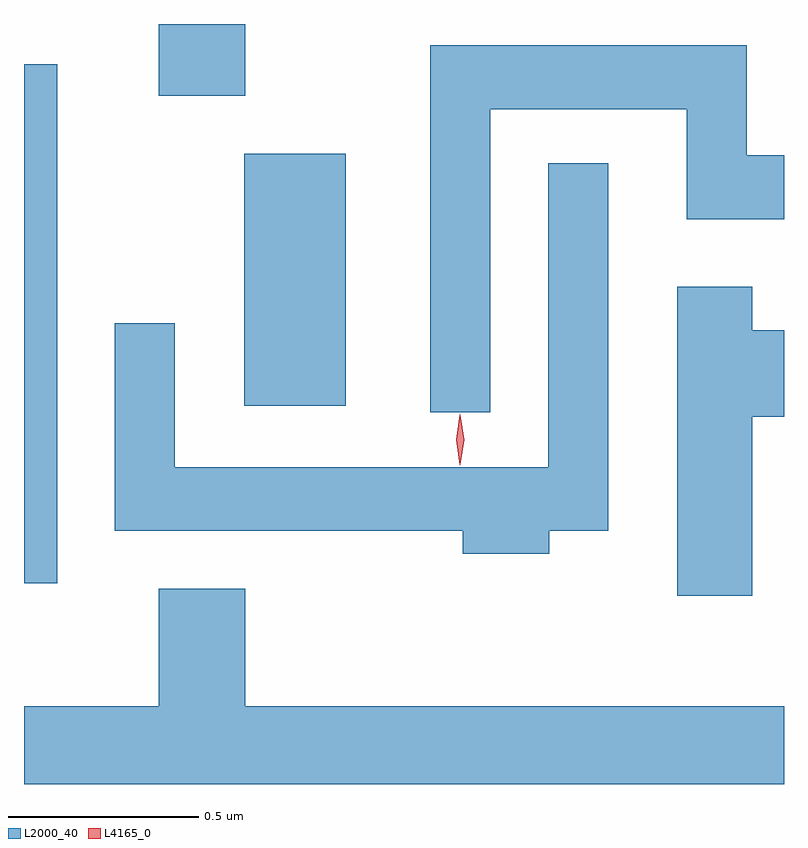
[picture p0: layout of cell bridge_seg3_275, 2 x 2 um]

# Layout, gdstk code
import gdstk
lib = gdstk.Library(unit=1e-6, precision=1e-09)
def R(c, l, rs):  # rectangles x0, y0, x1, y1
    for r in rs: c.add(gdstk.rectangle(r[:2], r[2:], *l))
def P(c, l, *ps):  # polygons
    for p in ps: c.add(gdstk.Polygon(p, *l))
L2000_40 = (2000, 40)
L4165_0 = (4165, 0)

bridge_seg3_275 = lib.new_cell('bridge_seg3_275')
R(bridge_seg3_275, L2000_40, [(1073.457,1135.488,1073.544,1136.854), (1074.036,1135.956,1074.304,1136.619), (1073.811,1136.771,1074.039,1136.96)])
P(bridge_seg3_275, L2000_40, [(1074.684,1136.736),(1075.201,1136.736),(1075.201,1136.446),(1075.457,1136.446),(1075.457,1136.614),(1075.359,1136.614),(1075.359,1136.904),(1074.526,1136.904),(1074.526,1135.938),(1074.684,1135.938)],
  [(1074.839,1135.626),(1074.994,1135.626),(1074.994,1136.593),(1074.836,1136.593),(1074.836,1135.794),(1073.854,1135.794),(1073.854,1136.173),(1073.696,1136.173),(1073.696,1135.626),(1074.611,1135.626),(1074.611,1135.566),(1074.839,1135.566)],
  [(1075.374,1135.926),(1075.457,1135.926),(1075.457,1136.154),(1075.374,1136.154),(1075.374,1136.269),(1075.176,1136.269),(1075.176,1135.456),(1075.374,1135.456)],
  [(1075.457,1135.164),(1074.039,1135.164),(1074.039,1135.474),(1073.811,1135.474),(1073.811,1135.164),(1073.457,1135.164),(1073.457,1134.96),(1075.457,1134.96)])
P(bridge_seg3_275, L4165_0, [(1074.605,1135.799),(1074.604,1135.8),(1074.595,1135.866),(1074.604,1135.932),(1074.605,1135.933),(1074.605,1135.932),(1074.615,1135.866),(1074.605,1135.8)])

lib.write_gds('bridge_seg3_275.gds')
